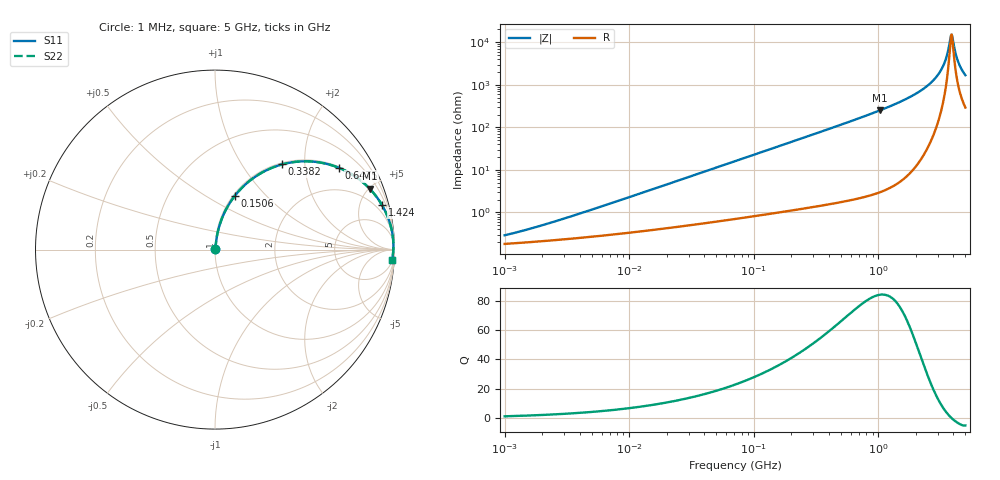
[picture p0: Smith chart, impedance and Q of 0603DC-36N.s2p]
# MHz  S  MA  R  50
!Freq  MagS11  AngS11  MagS21  AngS21  MagS12  AngS12  MagS22  AngS22
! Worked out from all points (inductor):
!   801 points, 1 MHz to 5 GHz, reference 50 ohm
!   read as one part in series: L = 36 nH near 3.158 MHz
!   highest Q = 84.1 at 1.034 GHz (marker M1), where L = 38.8 nH
!   self-resonance near 3.873 GHz
!   S11 on the Smith chart (normalised r, x): 1 MHz: 1.00, +0.00; 150.6 MHz: 1.02, +0.68; 338.2 MHz: 1.03, +1.54; 647.5 MHz: 1.04, +3.01; 1.424 GHz: 1.10, +7.45; 5 GHz: 7, -33
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1  0.002898 51.0  0.9982 -0.1  0.9982 -0.1  0.002898 51.0
4.16464  0.009734 74.3  0.9974 -0.5  0.9974 -0.5  0.009734 74.3
17.16055  0.03884 81.9  0.9953 -2.2  0.9953 -2.2  0.03884 81.9
70.71068  0.1571 78.5  0.9807 -9.0  0.9807 -9.0  0.1571 78.5
150.5804  0.3202 69.7  0.9383 -18.7  0.9383 -18.7  0.3202 69.7
294.4845  0.5516 55.4  0.8232 -33.5  0.8232 -33.5  0.5516 55.4
338.1978  0.6052 51.7  0.785 -37.2  0.785 -37.2  0.6052 51.7
647.4664  0.8281 33.3  0.5495 -55.9  0.5495 -55.9  0.8281 33.3
1034.333  0.9257 21.6  0.3674 -67.8  0.3674 -67.8  0.9257 21.6
1213.434  0.9467 18.1  0.311 -71.2  0.311 -71.2  0.9467 18.1
1423.547  0.9627 15.0  0.2585 -74.3  0.2585 -74.3  0.9627 15.0
2179.317  0.9874 7.9  0.1368 -80.8  0.1368 -80.8  0.9874 7.9
2874.332  0.9935 3.9  0.06873 -82.6  0.06873 -82.6  0.9935 3.9
3336.329  0.9943 1.9  0.03437 -79.5  0.03437 -79.5  0.9943 1.9
3518.743  0.9942 1.3  0.02253 -74.4  0.02253 -74.4  0.9942 1.3
3750.851  0.9938 0.4  0.009589 -49.5  0.009589 -49.5  0.9938 0.4
3872.585  0.9935 0.0  0.006512 -1.0  0.006512 -1.0  0.9935 0.0
3998.269  0.9931 -0.4  0.009888 45.6  0.009888 45.6  0.9931 -0.4
4216.874  0.9923 -1.1  0.02057 67.4  0.02057 67.4  0.9923 -1.1
4447.43  0.9912 -1.8  0.03226 73.3  0.03226 73.3  0.9912 -1.8
4740.798  0.9897 -2.6  0.04663 75.9  0.04663 75.9  0.9897 -2.6
5000  0.9881 -3.3  0.05876 76.7  0.05876 76.7  0.9881 -3.3
